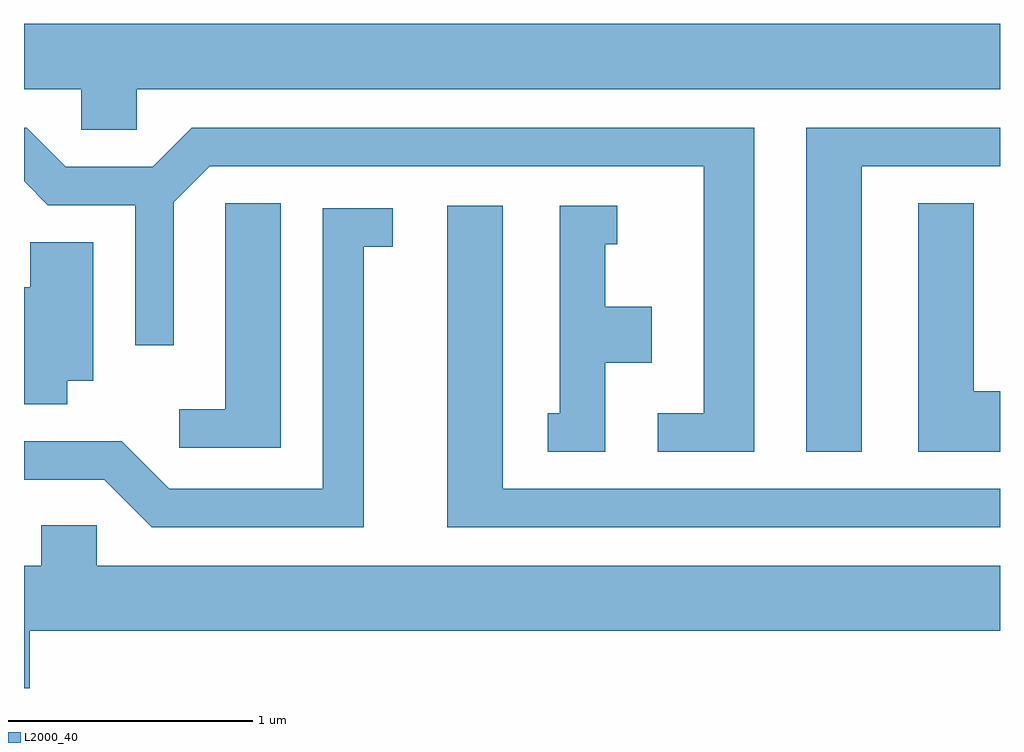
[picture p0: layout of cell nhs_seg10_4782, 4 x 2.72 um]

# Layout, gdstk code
import gdstk
lib = gdstk.Library(unit=1e-6, precision=1e-09)
def P(c, l, *ps):  # polygons
    for p in ps: c.add(gdstk.Polygon(p, *l))
L2000_40 = (2000, 40)

nhs_seg10_4782 = lib.new_cell('nhs_seg10_4782')
P(nhs_seg10_4782, L2000_40, [(326.074,2164.976),(329.611,2164.976),(329.611,2165.244),(325.611,2165.244),(325.611,2164.976),(325.846,2164.976),(325.846,2164.811),(326.074,2164.811)],
  [(328.604,2164.819),(326.299,2164.819),(326.139,2164.659),(325.782,2164.659),(325.622,2164.819),(325.611,2164.819),(325.611,2164.599),(325.709,2164.501),(326.066,2164.501),(326.066,2163.928),(326.224,2163.928),(326.224,2164.514),(326.372,2164.661),(328.396,2164.661),(328.396,2163.649),(328.208,2163.649),(328.208,2163.491),(328.604,2163.491)],
  [(329.044,2164.661),(329.611,2164.661),(329.611,2164.819),(328.816,2164.819),(328.816,2163.491),(329.044,2163.491)],
  [(326.664,2164.509),(326.436,2164.509),(326.436,2163.664),(326.248,2163.664),(326.248,2163.506),(326.664,2163.506)],
  [(329.611,2163.739),(329.504,2163.739),(329.504,2164.509),(329.276,2164.509),(329.276,2163.491),(329.611,2163.491)],
  [(327.994,2163.856),(328.184,2163.856),(328.184,2164.084),(327.994,2164.084),(327.994,2164.341),(328.043,2164.341),(328.043,2164.499),(327.806,2164.499),(327.806,2163.649),(327.758,2163.649),(327.758,2163.491),(327.994,2163.491)],
  [(329.611,2163.339),(327.574,2163.339),(327.574,2164.499),(327.346,2164.499),(327.346,2163.181),(329.611,2163.181)],
  [(327.004,2164.331),(327.123,2164.331),(327.123,2164.489),(326.836,2164.489),(326.836,2163.339),(326.207,2163.339),(326.012,2163.534),(325.611,2163.534),(325.611,2163.376),(325.939,2163.376),(326.134,2163.181),(327.004,2163.181)],
  [(325.789,2163.781),(325.894,2163.781),(325.894,2164.349),(325.636,2164.349),(325.636,2164.164),(325.611,2164.164),(325.611,2163.686),(325.789,2163.686)],
  [(325.634,2162.756),(329.611,2162.756),(329.611,2163.024),(325.909,2163.024),(325.909,2163.189),(325.681,2163.189),(325.681,2163.024),(325.611,2163.024),(325.611,2162.522),(325.634,2162.522)])

lib.write_gds('nhs_seg10_4782.gds')
